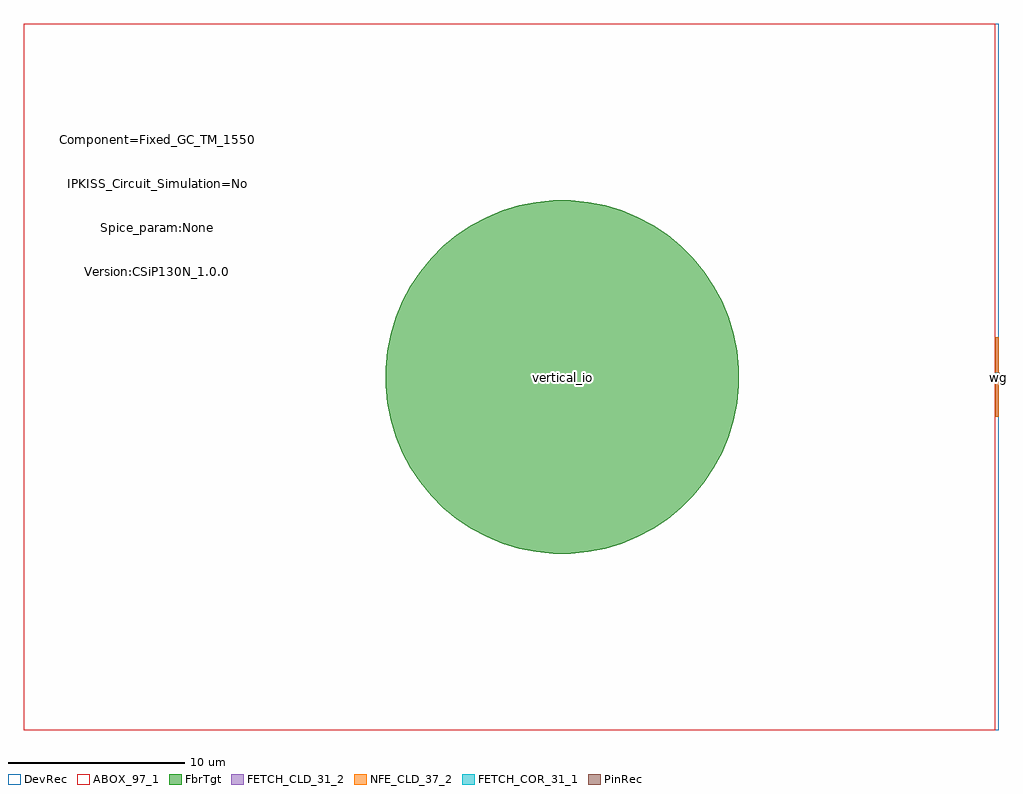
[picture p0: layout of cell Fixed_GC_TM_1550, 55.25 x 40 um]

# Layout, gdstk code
import gdstk
lib = gdstk.Library(unit=1e-6, precision=1e-09)
def R(c, l, rs):  # rectangles x0, y0, x1, y1
    for r in rs: c.add(gdstk.rectangle(r[:2], r[2:], *l))
def P(c, l, *ps):  # polygons
    for p in ps: c.add(gdstk.Polygon(p, *l))
FETCH_COR_31_1 = (31, 1)
FETCH_CLD_31_2 = (31, 2)
NFE_CLD_37_2 = (37, 2)
PinRec = (95, 0)
ABOX_97_1 = (97, 1)
FbrTgt = (1000, 0)
DevRec = (1001, 0)

fixed_gc_tm_1550 = lib.new_cell('Fixed_GC_TM_1550')
R(fixed_gc_tm_1550, FETCH_COR_31_1, [(-0.2,-0.25,0,0.25)])
R(fixed_gc_tm_1550, FETCH_CLD_31_2, [(-0.2,-2.25,0,2.25)])
R(fixed_gc_tm_1550, NFE_CLD_37_2, [(-0.2,-2.25,0,2.25)])
R(fixed_gc_tm_1550, ABOX_97_1, [(-55.2,-20,-0.2,20)])
P(fixed_gc_tm_1550, FbrTgt, [(-25.198,-10),(-26.176,-9.904),(-27.14,-9.712),(-28.08,-9.427),(-28.988,-9.051),(-29.854,-8.588),(-30.671,-8.042),(-31.431,-7.418),(-32.125,-6.724),(-32.749,-5.964),(-33.295,-5.147),(-33.758,-4.281),(-34.134,-3.373),(-34.419,-2.433),(-34.611,-1.469),(-34.707,-0.491),(-34.707,0.491),(-34.611,1.469),(-34.419,2.433),(-34.134,3.373),(-33.758,4.281),(-33.295,5.147),(-32.749,5.964),(-32.125,6.724),(-31.431,7.418),(-30.671,8.042),(-29.854,8.588),(-28.988,9.051),(-28.08,9.427),(-27.14,9.712),(-26.176,9.904),(-25.198,10),(-24.216,10),(-23.238,9.904),(-22.274,9.712),(-21.334,9.427),(-20.426,9.051),(-19.56,8.588),(-18.743,8.042),(-17.983,7.418),(-17.289,6.724),(-16.665,5.964),(-16.119,5.147),(-15.656,4.281),(-15.28,3.373),(-14.995,2.433),(-14.803,1.469),(-14.707,0.491),(-14.707,-0.491),(-14.803,-1.469),(-14.995,-2.433),(-15.28,-3.373),(-15.656,-4.281),(-16.119,-5.147),(-16.665,-5.964),(-17.289,-6.724),(-17.983,-7.418),(-18.743,-8.042),(-19.56,-8.588),(-20.426,-9.051),(-21.334,-9.427),(-22.274,-9.712),(-23.238,-9.904),(-24.216,-10)])
R(fixed_gc_tm_1550, DevRec, [(-55.2,-20,0,20)])
fixed_gc_tm_1550.add(gdstk.FlexPath([(-0.05,0),(0.05,0)], 0.5, ends="flush", simple_path=True, layer=95, datatype=0))  # PinRec
fixed_gc_tm_1550.add(gdstk.Label('wg', (0,0), layer=95, texttype=0))
fixed_gc_tm_1550.add(gdstk.Label('vertical_io', (-24.707,0), layer=1000, texttype=0))
fixed_gc_tm_1550.add(gdstk.Label('Version:CSiP130N_1.0.0', (-47.62,5.97), layer=1001, texttype=0))
fixed_gc_tm_1550.add(gdstk.Label('IPKISS_Circuit_Simulation=None', (-47.62,10.97), layer=1001, texttype=0))
fixed_gc_tm_1550.add(gdstk.Label('Component=Fixed_GC_TM_1550', (-47.62,13.47), layer=1001, texttype=0))
fixed_gc_tm_1550.add(gdstk.Label('Spice_param:None', (-47.62,8.47), layer=1001, texttype=0))

lib.write_gds('Fixed_GC_TM_1550.gds')
